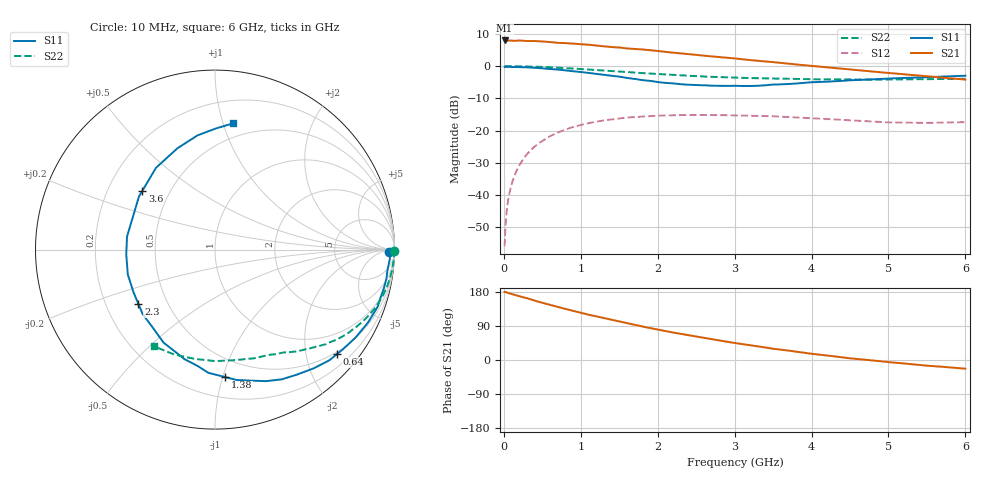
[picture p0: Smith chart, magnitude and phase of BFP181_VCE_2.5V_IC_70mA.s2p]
! Infineon Technologies  Discrete & RF Semiconductors
! BFP181
! VCE = 2.5 V,  IC =  70 mA
! Common Emitter S-Parameters:  Jan 2016
# GHz  S  MA  R  50
!  f  S11  S21  S12  S22
! GHz  MAG  ANG  MAG  ANG  MAG  ANG  MAG  ANG
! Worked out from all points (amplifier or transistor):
!   210 points, 10 MHz to 6 GHz, reference 50 ohm
!   highest |S21| = 8.0 dB at 10 MHz (marker M1)
!   |S21| within 3 dB of that: start of sweep to 1.905 GHz
!   unconditionally stable (mu >= 1): 3.393 GHz to end of sweep
!   at 185 MHz: K = 0.06, MSG = 19.7 dB, |S12| = -31.5 dB
!   at 1.52 GHz: K = 0.48, MSG = 11.0 dB, |S12| = -16.2 dB
!   at 6 GHz: K = 1.37, MAG = 3.0 dB, |S12| = -17.4 dB
!   S11 on the Smith chart (normalised r, x): 10 MHz: 55, -26; 640 MHz: 0.45, -2.64; 1.38 GHz: 0.35, -1.02; 2.3 GHz: 0.34, -0.29; 3.6 GHz: 0.35, +0.32; 6 GHz: 0.38, +1.07
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0.01  0.9707 -0.8  2.503 179.7  0.0016 82.8  0.9987 -0.3
0.025  0.9745 -1.8  2.483 179.1  0.0038 93.4  0.9938 -0.7
0.055  0.9748 -3.4  2.499 176.9  0.0083 90.0  0.9972 -1.7
0.1  0.9676 -6.8  2.479 174.3  0.0145 83.9  0.9992 -3.0
0.165  0.9673 -10.6  2.477 170.4  0.0237 82.1  0.9946 -5.0
0.36  0.9497 -22.9  2.45 159.2  0.0509 74.2  0.9836 -10.8
0.5  0.924 -32.0  2.416 150.9  0.0688 68.0  0.9712 -14.9
0.64  0.8952 -40.5  2.339 143.5  0.0859 62.1  0.9543 -18.9
0.9  0.8331 -56.7  2.246 129.6  0.1136 52.1  0.9178 -25.5
1.02  0.8068 -64.0  2.178 123.8  0.1233 47.8  0.8984 -28.5
1.1  0.7856 -68.9  2.154 119.5  0.1302 45.0  0.886 -30.3
1.38  0.7129 -85.3  1.981 106.9  0.1477 35.7  0.8429 -36.5
1.7  0.6337 -105.5  1.854 92.8  0.162 26.8  0.7946 -42.3
2.02  0.5622 -126.3  1.706 79.6  0.17 19.3  0.7527 -47.4
2.3  0.5236 -144.6  1.577 69.0  0.1738 13.1  0.7213 -52.0
2.8  0.4952 -176.7  1.385 51.3  0.1737 4.2  0.6756 -59.5
3.1  0.4911 166.2  1.278 42.1  0.1704 -0.4  0.6559 -64.0
3.6  0.5209 140.9  1.121 27.3  0.1643 -5.9  0.6385 -72.1
4.1  0.5666 122.5  0.982 14.2  0.1531 -9.9  0.6235 -81.6
4.5  0.6023 110.3  0.887 4.4  0.1442 -11.8  0.6213 -89.8
5.1  0.6485 96.9  0.764 -7.3  0.1331 -10.4  0.619 -102.6
6  0.7095 82.1  0.618 -22.9  0.1348 -4.9  0.6373 -122.3
